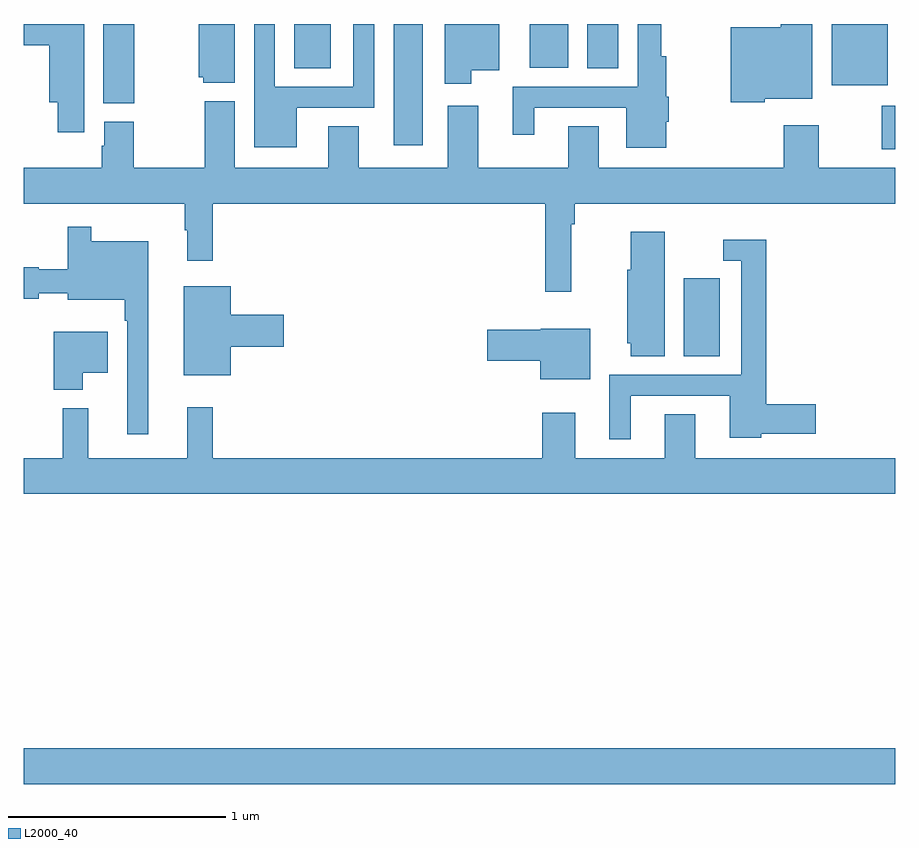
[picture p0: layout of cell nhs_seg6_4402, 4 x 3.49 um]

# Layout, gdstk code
import gdstk
lib = gdstk.Library(unit=1e-6, precision=1e-09)
def R(c, l, rs):  # rectangles x0, y0, x1, y1
    for r in rs: c.add(gdstk.rectangle(r[:2], r[2:], *l))
def P(c, l, *ps):  # polygons
    for p in ps: c.add(gdstk.Polygon(p, *l))
L2000_40 = (2000, 40)

nhs_seg6_4402 = lib.new_cell('nhs_seg6_4402')
R(nhs_seg6_4402, L2000_40, [(371,938.012,375,938.176), (374.03,939.976,374.194,940.333), (374.938,940.926,375,941.124), (372.698,940.944,372.832,941.5), (371.366,941.137,371.508,941.5), (374.708,941.219,374.965,941.5), (372.242,941.296,372.409,941.5), (373.586,941.296,373.729,941.5), (373.322,941.3,373.498,941.5)])
P(nhs_seg6_4402, L2000_40, [(373.054,941.288),(373.183,941.288),(373.183,941.5),(372.932,941.5),(372.932,941.226),(373.054,941.226)],
  [(371.278,941.5),(371,941.5),(371,941.402),(371.117,941.402),(371.117,941.141),(371.156,941.141),(371.156,941.004),(371.278,941.004)],
  [(371.968,941.5),(371.804,941.5),(371.804,941.256),(371.823,941.256),(371.823,941.231),(371.968,941.231)],
  [(373.948,941.052),(373.96,941.052),(373.96,941.166),(373.948,941.166),(373.948,941.353),(373.927,941.353),(373.927,941.5),(373.818,941.5),(373.818,941.211),(373.244,941.211),(373.244,940.992),(373.342,940.992),(373.342,941.115),(373.766,941.115),(373.766,940.931),(373.948,940.931)],
  [(372.253,941.115),(372.609,941.115),(372.609,941.5),(372.513,941.5),(372.513,941.211),(372.153,941.211),(372.153,941.5),(372.057,941.5),(372.057,940.934),(372.253,940.934)],
  [(374.4,941.156),(374.62,941.156),(374.62,941.5),(374.474,941.5),(374.474,941.485),(374.246,941.485),(374.246,941.141),(374.4,941.141)],
  [(373.514,940.58),(373.529,940.58),(373.529,940.676),(375,940.676),(375,940.84),(374.649,940.84),(374.649,941.035),(374.489,941.035),(374.489,940.84),(373.639,940.84),(373.639,941.03),(373.499,941.03),(373.499,940.84),(373.087,940.84),(373.087,941.125),(372.947,941.125),(372.947,940.84),(372.538,940.84),(372.538,941.03),(372.398,941.03),(372.398,940.84),(371.968,940.84),(371.968,941.146),(371.83,941.146),(371.83,940.84),(371.505,940.84),(371.505,941.052),(371.369,941.052),(371.369,940.941),(371.357,940.941),(371.357,940.84),(371,940.84),(371,940.676),(371.739,940.676),(371.739,940.553),(371.75,940.553),(371.75,940.413),(371.867,940.413),(371.867,940.676),(373.393,940.676),(373.393,940.272),(373.514,940.272)],
  [(371.572,940.504),(371.311,940.504),(371.311,940.57),(371.201,940.57),(371.201,940.375),(371.07,940.375),(371.07,940.383),(371,940.383),(371,940.238),(371.07,940.238),(371.07,940.265),(371.201,940.265),(371.201,940.235),(371.463,940.235),(371.463,940.139),(371.475,940.139),(371.475,939.618),(371.572,939.618)],
  [(373.942,940.546),(373.787,940.546),(373.787,940.371),(373.769,940.371),(373.769,940.035),(373.787,940.035),(373.787,939.976),(373.942,939.976)],
  [(373.786,939.795),(374.24,939.795),(374.24,939.602),(374.385,939.602),(374.385,939.62),(374.635,939.62),(374.635,939.755),(374.408,939.755),(374.408,940.51),(374.211,940.51),(374.211,940.413),(374.292,940.413),(374.292,939.891),(373.688,939.891),(373.688,939.594),(373.786,939.594)],
  [(371.95,940.019),(372.193,940.019),(372.193,940.166),(371.95,940.166),(371.95,940.297),(371.735,940.297),(371.735,939.887),(371.95,939.887)],
  [(373.6,940.102),(373.374,940.102),(373.374,940.097),(373.128,940.097),(373.128,939.955),(373.37,939.955),(373.37,939.869),(373.6,939.869)],
  [(371.272,939.899),(371.386,939.899),(371.386,940.087),(371.138,940.087),(371.138,939.821),(371.272,939.821)],
  [(375,939.508),(374.083,939.508),(374.083,939.71),(373.943,939.71),(373.943,939.508),(373.531,939.508),(373.531,939.715),(373.379,939.715),(373.379,939.508),(371.867,939.508),(371.867,939.742),(371.75,939.742),(371.75,939.508),(371.297,939.508),(371.297,939.736),(371.179,939.736),(371.179,939.508),(371,939.508),(371,939.344),(375,939.344)])

lib.write_gds('nhs_seg6_4402.gds')
